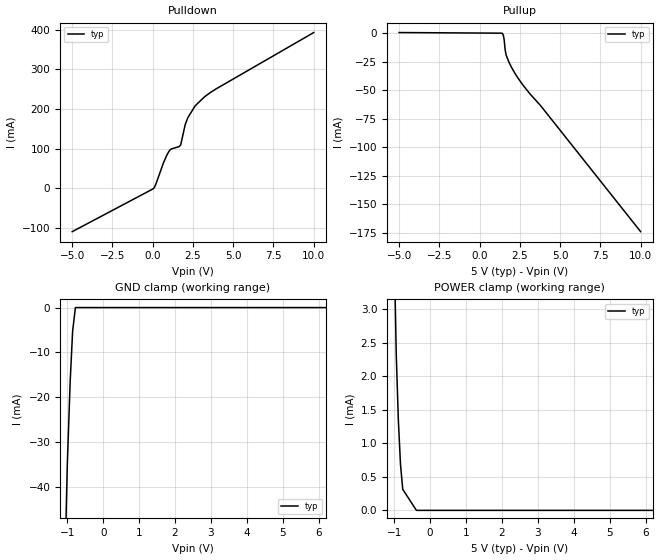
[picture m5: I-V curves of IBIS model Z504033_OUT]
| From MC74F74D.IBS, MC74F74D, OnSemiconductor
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| (C) COPYRIGHT 1993-2000
| MENTOR GRAPHICS CORPORATION
| ICX STANDARD LIBRARY, ICX PROJECT MODELING,
| ICX CUSTOM MODELING, ICX VENDOR MODEL
| ALL RIGHTS RESERVED.
| THE FOLLOWING ARE TRADEMARKS OR SERVICE MARKS OF
| MENTOR GRAPHICS CORPORATION:ICX (R), ICX STANDARD
| LIBRARY(R), ICX PROJECT MODELING(R), ICX CUSTOM
| MODELING(R), qualityIBIS(TM), MODELVIEWER(TM),
| AND MODELEDITOR(TM)
| ALL COPIES OF SOFTWARE, INCLUDING BUT NOT LIMITED TO
| ANY MODIFICATIONS, ENHANCEMENTS OR DERIVATIVE WORKS,
| MUST CONTAIN ALL MENTOR GRAPHICS CORPORATION'S
| NOTICES AND LEGENDS, INCLUDING THOSE EMBEDDED IN
| SOFTWARE AND THOSE AFFIXED TO SOFTWARE MEDIUM
| AND CONTAINER, AS RECEIVED FROM MENTOR GRAPHICS
| CORPORATION.
| Model Application Version 1.89 2/18/99.
[Model] Z504033_OUT
Model_type Output
Vref=0.000V
Rref=500.0ohms
Cref=50.00pF
Vmeas=1.500V
C_comp 8.000pF NA NA
| variable typ   min   max
[Voltage Range] 5.000V NA NA
[POWER Clamp Reference] 5.000V NA NA
[Pullup Reference] 5.000V NA NA
[Pulldown Reference] 0.000V NA NA
[GND Clamp Reference] 0.000V NA NA
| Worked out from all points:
|   slope of the pulldown table from 0 to 0.75 V, typ, clamps not added: 10.1 ohm
|   slope of the pullup table from 0 to 0.75 V, typ, clamps not added: 11.5 kohm
|   GND clamp passes 1 mA (typ) near -0.79 V on its own axis
|   POWER clamp passes 1 mA (typ) near -0.85 V on its own axis
[GND Clamp]
-5V       -1.765A    NA         NA
-1.131V   -78.77mA   NA         NA
-999.8mV  -34.85mA   NA         NA
-921.9mV  -16.74mA   NA         NA
-852.9mV  -5.309mA   NA         NA
-775.4mV  0A         NA         NA
10V       0A         NA         NA
[Pulldown]
-5V       -109.9mA   NA         NA
61.84mV   -340.9uA   NA         NA
227.9mV   13.75mA    NA         NA
655.5mV   62.8mA     NA         NA
986.9mV   91.65mA    NA         NA
1.16V     99.12mA    NA         NA
1.735V    109mA      NA         NA
2.016V    160.4mA    NA         NA
2.179V    177.9mA    NA         NA
2.628V    207.7mA    NA         NA
3.226V    231.1mA    NA         NA
10V       393.2mA    NA         NA
[Pullup]
-5V       514.9uA    NA         NA
1.422V    -384.1uA   NA         NA
1.481V    -2.253mA   NA         NA
1.521V    -5.441mA   NA         NA
1.589V    -14.74mA   NA         NA
1.644V    -19.11mA   NA         NA
1.818V    -25.35mA   NA         NA
1.993V    -30.31mA   NA         NA
2.367V    -39.08mA   NA         NA
2.717V    -46.03mA   NA         NA
3.787V    -63.55mA   NA         NA
10V       -174mA     NA         NA
[POWER Clamp]
-5V       168.4mA    NA         NA
-1.333V   14.53mA    NA         NA
-1.1V     6.627mA    NA         NA
-943mV    2.326mA    NA         NA
-885mV    1.352mA    NA         NA
-825mV    685.4uA    NA         NA
-762mV    313.8uA    NA         NA
-381mV    0A         NA         NA
10V       0A         NA         NA
[Ramp]
| variable typ min max
dV/dt_r 2.042/3.130n NA NA
dV/dt_f 2.042/1.788n NA NA
R_load = 500.0Ohms
